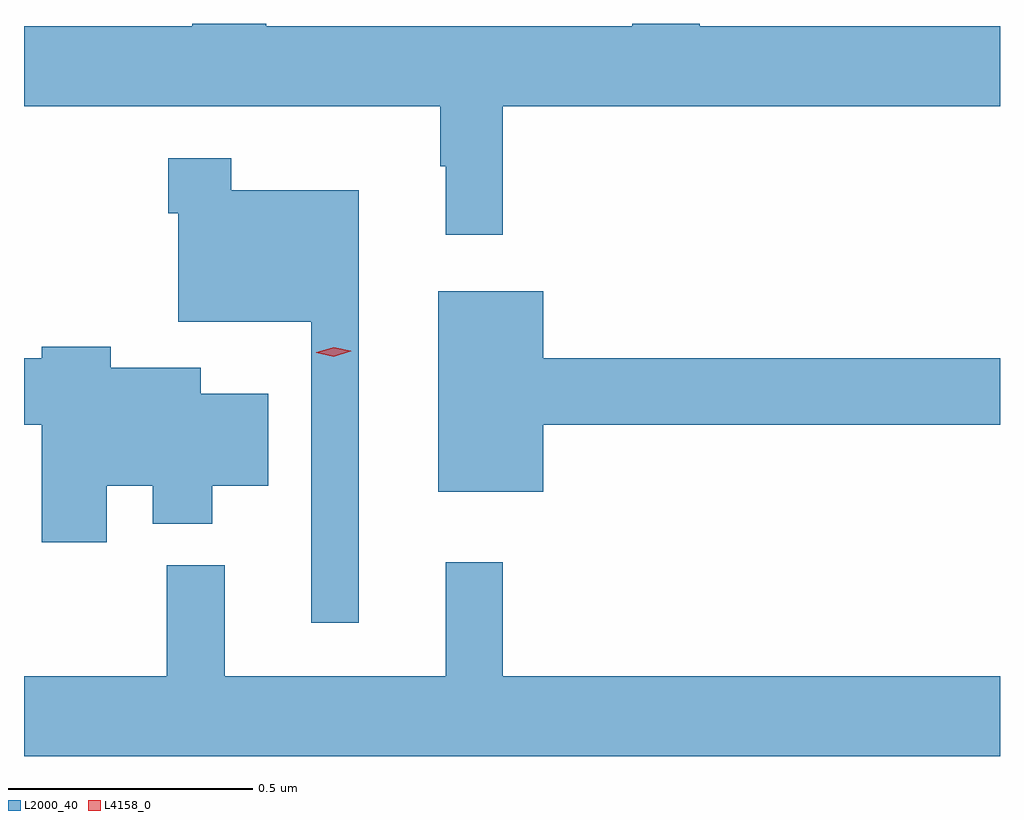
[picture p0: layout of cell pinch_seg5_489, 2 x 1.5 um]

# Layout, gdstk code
import gdstk
lib = gdstk.Library(unit=1e-6, precision=1e-09)
def P(c, l, *ps):  # polygons
    for p in ps: c.add(gdstk.Polygon(p, *l))
L2000_40 = (2000, 40)
L4158_0 = (4158, 0)

pinch_seg5_489 = lib.new_cell('pinch_seg5_489')
P(pinch_seg5_489, L2000_40, [(914.213,852.764),(915.232,852.764),(915.232,852.928),(914.617,852.928),(914.617,852.934),(914.478,852.934),(914.478,852.928),(913.728,852.928),(913.728,852.934),(913.577,852.934),(913.577,852.928),(913.232,852.928),(913.232,852.764),(914.085,852.764),(914.085,852.641),(914.096,852.641),(914.096,852.501),(914.213,852.501)],
  [(913.918,852.592),(913.657,852.592),(913.657,852.658),(913.528,852.658),(913.528,852.545),(913.548,852.545),(913.548,852.323),(913.821,852.323),(913.821,851.706),(913.918,851.706)],
  [(914.296,852.112),(915.232,852.112),(915.232,852.248),(914.296,852.248),(914.296,852.385),(914.081,852.385),(914.081,851.975),(914.296,851.975)],
  [(913.402,851.987),(913.496,851.987),(913.496,851.909),(913.618,851.909),(913.618,851.987),(913.732,851.987),(913.732,852.175),(913.594,852.175),(913.594,852.229),(913.41,852.229),(913.41,852.272),(913.268,852.272),(913.268,852.248),(913.232,852.248),(913.232,852.112),(913.268,852.112),(913.268,851.871),(913.402,851.871)],
  [(915.232,851.596),(914.213,851.596),(914.213,851.83),(914.096,851.83),(914.096,851.596),(913.643,851.596),(913.643,851.824),(913.525,851.824),(913.525,851.596),(913.232,851.596),(913.232,851.432),(915.232,851.432)])
P(pinch_seg5_489, L4158_0, [(913.867,852.251),(913.831,852.259),(913.831,852.26),(913.831,852.26),(913.867,852.271),(913.902,852.263),(913.903,852.262),(913.902,852.262)])

lib.write_gds('pinch_seg5_489.gds')
